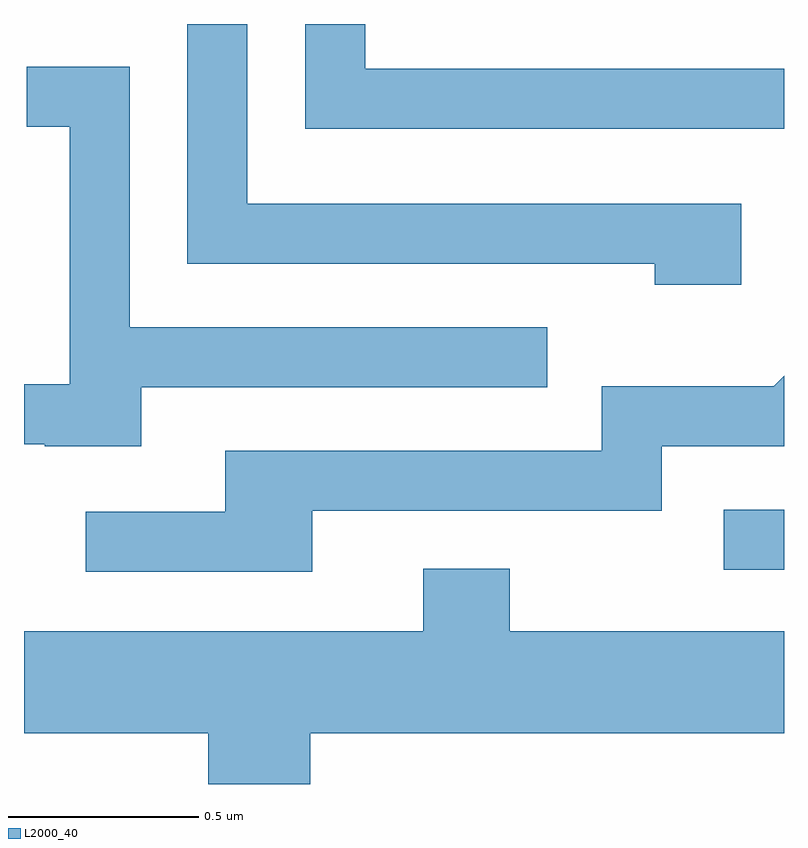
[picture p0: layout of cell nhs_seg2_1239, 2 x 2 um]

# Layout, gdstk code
import gdstk
lib = gdstk.Library(unit=1e-6, precision=1e-09)
def R(c, l, rs):  # rectangles x0, y0, x1, y1
    for r in rs: c.add(gdstk.rectangle(r[:2], r[2:], *l))
def P(c, l, *ps):  # polygons
    for p in ps: c.add(gdstk.Polygon(p, *l))
L2000_40 = (2000, 40)

nhs_seg2_1239 = lib.new_cell('nhs_seg2_1239')
R(nhs_seg2_1239, L2000_40, [(196.453,984.366,196.611,984.524)])
P(nhs_seg2_1239, L2000_40, [(196.499,985.329),(195.199,985.329),(195.199,985.802),(195.041,985.802),(195.041,985.171),(196.271,985.171),(196.271,985.116),(196.499,985.116)],
  [(196.611,985.684),(195.509,985.684),(195.509,985.802),(195.351,985.802),(195.351,985.526),(196.611,985.526)],
  [(194.919,984.846),(195.988,984.846),(195.988,985.004),(194.889,985.004),(194.889,985.689),(194.618,985.689),(194.618,985.531),(194.731,985.531),(194.731,984.854),(194.611,984.854),(194.611,984.696),(194.665,984.696),(194.665,984.691),(194.919,984.691)],
  [(195.369,984.521),(196.289,984.521),(196.289,984.691),(196.611,984.691),(196.611,984.876),(196.584,984.849),(196.131,984.849),(196.131,984.679),(195.141,984.679),(195.141,984.519),(194.773,984.519),(194.773,984.361),(195.369,984.361)],
  [(195.364,983.936),(196.611,983.936),(196.611,984.204),(195.889,984.204),(195.889,984.369),(195.661,984.369),(195.661,984.204),(194.611,984.204),(194.611,983.936),(195.096,983.936),(195.096,983.802),(195.364,983.802)])

lib.write_gds('nhs_seg2_1239.gds')
